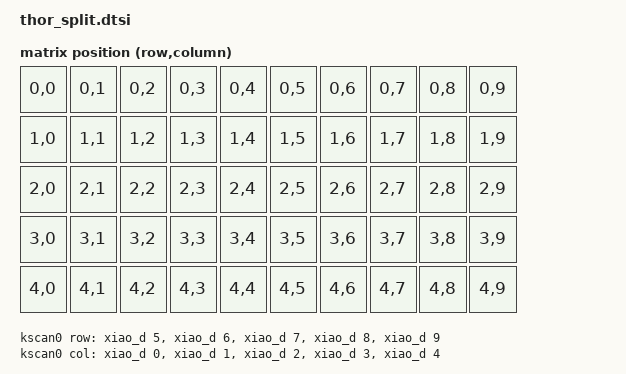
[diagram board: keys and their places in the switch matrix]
#include <dt-bindings/zmk/matrix_transform.h>
#include <zephyr/dt-bindings/gpio/gpio.h>

/ {
    kscan0: kscan0 {
        compatible = "zmk,kscan-gpio-matrix";
        wakeup-source;
        diode-direction = "col2row";
        col-gpios =
            <&xiao_d 0 GPIO_ACTIVE_HIGH>,
            <&xiao_d 1 GPIO_ACTIVE_HIGH>,
            <&xiao_d 2 GPIO_ACTIVE_HIGH>,
            <&xiao_d 3 GPIO_ACTIVE_HIGH>,
            <&xiao_d 4 GPIO_ACTIVE_HIGH>;
        row-gpios =
            <&xiao_d 5 (GPIO_ACTIVE_HIGH | GPIO_PULL_DOWN)>,
            <&xiao_d 6 (GPIO_ACTIVE_HIGH | GPIO_PULL_DOWN)>,
            <&xiao_d 7 (GPIO_ACTIVE_HIGH | GPIO_PULL_DOWN)>,
            <&xiao_d 8 (GPIO_ACTIVE_HIGH | GPIO_PULL_DOWN)>,
            <&xiao_d 9 (GPIO_ACTIVE_HIGH | GPIO_PULL_DOWN)>;
    };
    default_transform: keymap_transform_0 {
        compatible = "zmk,matrix-transform";
        rows = <5>;
        columns = <10>;
        map = <
            RC(0,0) RC(0,1) RC(0,2) RC(0,3) RC(0,4) RC(0,5) RC(0,6) RC(0,7) RC(0,8) RC(0,9)
            RC(1,0) RC(1,1) RC(1,2) RC(1,3) RC(1,4) RC(1,5) RC(1,6) RC(1,7) RC(1,8) RC(1,9)
            RC(2,0) RC(2,1) RC(2,2) RC(2,3) RC(2,4) RC(2,5) RC(2,6) RC(2,7) RC(2,8) RC(2,9)
            RC(3,0) RC(3,1) RC(3,2) RC(3,3) RC(3,4) RC(3,5) RC(3,6) RC(3,7) RC(3,8) RC(3,9)
            RC(4,0) RC(4,1) RC(4,2) RC(4,3) RC(4,4) RC(4,5) RC(4,6) RC(4,7) RC(4,8) RC(4,9)
        >;
    };
    physical_layout0: physical_layout_0 {
        compatible = "zmk,physical-layout";
        display-name = "HS Thor 5x5 each";
        kscan = <&kscan0>;
        transform = <&default_transform>;
    };
    chosen {
        zmk,physical-layout = &physical_layout0;
    };
};
